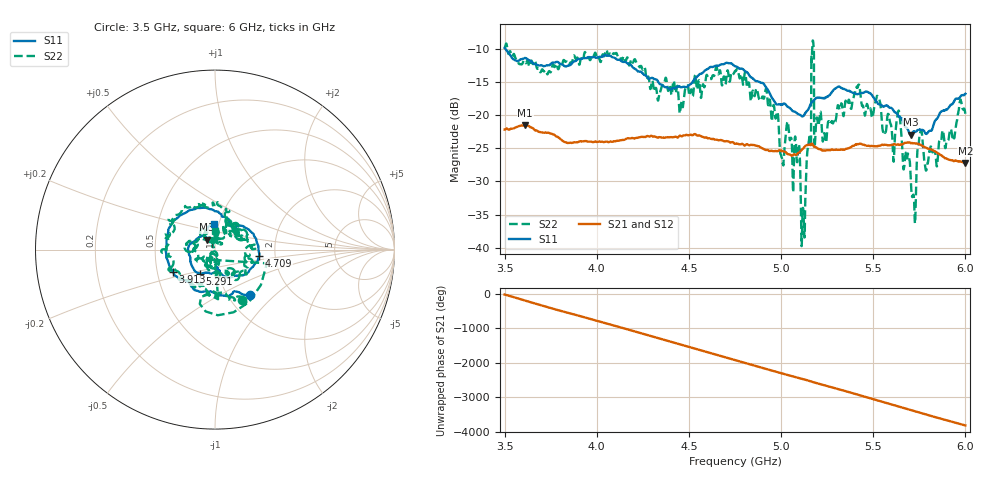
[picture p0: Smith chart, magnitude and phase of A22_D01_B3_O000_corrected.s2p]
! Created with skrf 1.9.0 (http://scikit-rf.org).
# Hz S RI R 50.0
!freq ReS11 ImS11 ReS21 ImS21 ReS12 ImS12 ReS22 ImS22
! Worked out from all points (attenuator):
!   1601 points, 3.5 GHz to 6 GHz, reference 50 ohm
!   highest |S21| = -21.52 dB at 3.611 GHz (marker M1); lowest = -27.2 dB at 6 GHz (marker M2)
!   lowest |S11| = -23.0 dB at 5.703 GHz (marker M3), VSWR 1.15, Z = 45.4 + j5.01 ohm
!   |S11| at or under -10 dB: 3.504 GHz to end of sweep
!   |S22| runs from -39.8 to -8.7 dB; largest |S21 - S12| = 0.0012
!   S11 on the Smith chart (normalised r, x): 3.5 GHz: 1.26, -0.71; 3.913 GHz: 0.61, -0.16; 4.709 GHz: 1.65, -0.12; 5.291 GHz: 0.82, -0.22; 6 GHz: 0.95, +0.28
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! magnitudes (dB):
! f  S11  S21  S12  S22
! 3.5 GHz  -9.9  -22.2  -22.2  -9.9
! 3.611 GHz  -11.4  -21.5  -21.5  -12.0
! 3.913 GHz  -11.5  -23.9  -23.9  -11.6
! 3.917 GHz  -11.5  -24.0  -24.0  -11.4
! 4.334 GHz  -15.0  -23.4  -23.3  -17.6
! 4.709 GHz  -12.1  -24.0  -23.9  -13.2
! 4.75 GHz  -12.6  -24.3  -24.3  -13.4
! 4.927 GHz  -16.1  -25.2  -25.3  -17.7
! 5.005 GHz  -18.4  -25.4  -25.4  -26.5
! 5.088 GHz  -19.8  -25.9  -25.9  -27.1
! 5.119 GHz  -20.2  -25.1  -25.0  -34.0
! 5.167 GHz  -18.0  -24.3  -24.3  -11.2
! 5.192 GHz  -17.4  -24.9  -24.9  -20.5
! 5.291 GHz  -16.0  -25.2  -25.2  -21.0
! 5.416 GHz  -16.8  -24.4  -24.4  -15.8
! 5.584 GHz  -18.8  -24.5  -24.6  -19.9
! 5.639 GHz  -20.2  -24.5  -24.5  -19.3
! 5.703 GHz  -23.0  -24.2  -24.2  -29.4
! 5.722 GHz  -22.4  -24.2  -24.2  -32.9
! 5.755 GHz  -22.2  -24.5  -24.4  -22.6
! 5.789 GHz  -22.8  -25.0  -24.9  -28.3
! 6 GHz  -16.8  -27.2  -27.2  -19.8
